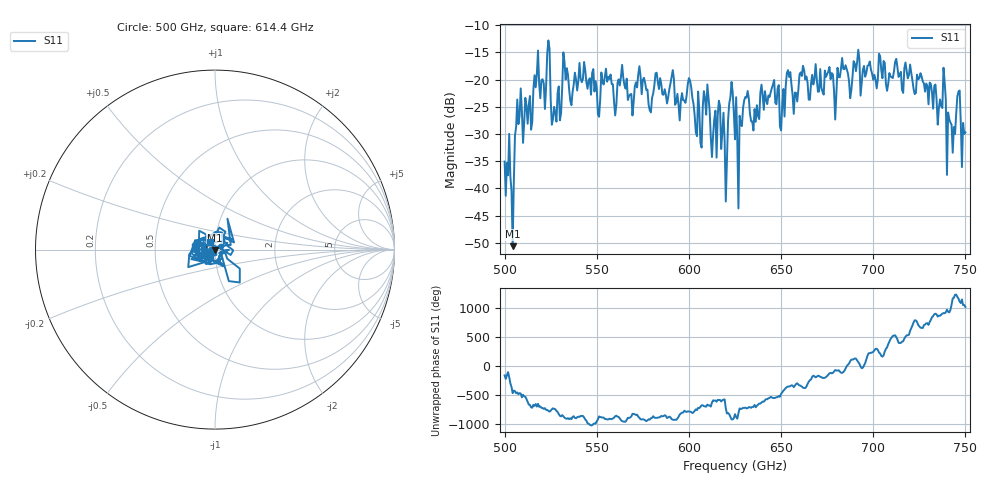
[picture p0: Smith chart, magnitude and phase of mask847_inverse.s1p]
!Created with skrf (http://scikit-rf.org).
# GHz S MA R 50.0
!freq magS11 angS11
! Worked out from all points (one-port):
!   401 points, 500 GHz to 750 GHz, reference 50 ohm
!   lowest |S11| = -50.6 dB at 504.4 GHz (marker M1), VSWR 1.01, Z = 49.9 - j0.279 ohm
!   |S11| at or under -10 dB: start of sweep to end of sweep
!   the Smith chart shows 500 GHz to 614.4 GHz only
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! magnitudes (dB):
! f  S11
! 500 GHz  -35.1
! 504.4 GHz  -50.6
! 507.5 GHz  -28.2
! 513.8 GHz  -23.0
! 516.9 GHz  -21.4
! 523.8 GHz  -12.8
! 526.9 GHz  -25.0
! 531.2 GHz  -21.5
! 562.5 GHz  -21.1
! 579.4 GHz  -26.0
! 590.6 GHz  -19.5
! 593.8 GHz  -22.6
! 600.6 GHz  -20.2
! 605.6 GHz  -25.6
! 609.4 GHz  -26.4
! 619.4 GHz  -31.2
! 622.5 GHz  -23.3
! 625 GHz  -31.0
! 627.5 GHz  -26.6
! 631.2 GHz  -23.3
! 635 GHz  -29.4
! 656.2 GHz  -22.8
! 687.5 GHz  -23.4
! 691.2 GHz  -16.8
! 718.8 GHz  -19.8
! 741.2 GHz  -27.3
! 746.2 GHz  -22.2
! 750 GHz  -29.7
